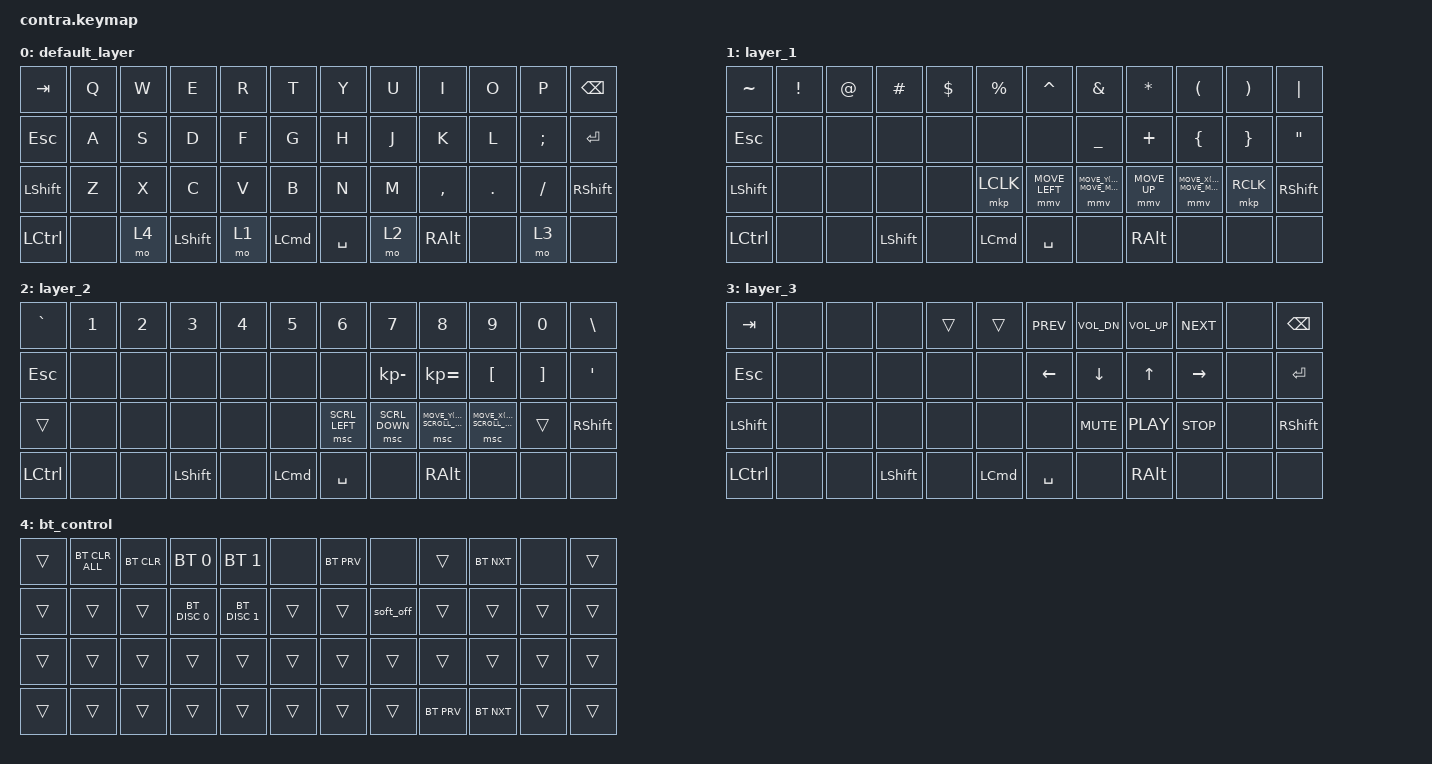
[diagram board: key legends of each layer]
/*
 * Copyright (c) 2021 The ZMK Contributors
 *
 * SPDX-License-Identifier: MIT
 */

#include <behaviors.dtsi>
#include <dt-bindings/zmk/bt.h>
#include <dt-bindings/zmk/keys.h>
#include <dt-bindings/zmk/mouse.h>
#include <behaviors/mouse_keys.dtsi>

#define DEFAULT  0
#define LAY_1 1
#define LAY_2 2
#define LAY_3 3
#define BT_CTRL 4

#define MOUSE_MOVE_MAX 3000                     /* <--- New max speed setting (default: 600) */
#undef MOVE_UP
#undef MOVE_DOWN
#undef MOVE_LEFT
#undef MOVE_RIGHT
#define MOVE_UP MOVE_Y(-MOUSE_MOVE_MAX)
#define MOVE_DOWN MOVE_Y(MOUSE_MOVE_MAX)
#define MOVE_LEFT MOVE_X(-MOUSE_MOVE_MAX)
#define MOVE_RIGHT MOVE_X(MOUSE_MOVE_MAX)


#define MOUSE_SCROLL_MAX 35
#undef SCRL_UP
#undef SCRL_DOWN
#undef SCRL_LEFT
#undef SCRL_RIGHT
#define SCRL_UP MOVE_Y(MOUSE_SCROLL_MAX)
#define SCRL_DOWN MOVE_Y(-MOUSE_SCROLL_MAX)
#define SCRL_LEFT MOVE_X(-MOUSE_SCROLL_MAX)
#define SCRL_RIGHT MOVE_X(MOUSE_SCROLL_MAX)

&mmv {
	time-to-max-speed-ms = <400>;             /* <--- How long time until max speed is reached (default: 500) */
};

&soft_off{
    hold-time-ms = <3000>;
};

/ {
    keymap {
        compatible = "zmk,keymap";

        default_layer {
            bindings = <
                &kp TAB     &kp Q  &kp W  &kp E           &kp R  &kp T             &kp Y      &kp U  &kp I          &kp O    &kp P     &kp BSPC
                &kp ESCAPE  &kp A  &kp S  &kp D           &kp F  &kp G             &kp H      &kp J  &kp K          &kp L    &kp SEMI  &kp ENTER
                &kp LSHFT   &kp Z  &kp X  &kp C           &kp V  &kp B             &kp N      &kp M  &kp COMMA      &kp DOT  &kp FSLH  &kp RIGHT_SHIFT
                &kp LCTRL   &none  &mo 4  &kp LEFT_SHIFT  &mo 1  &kp LEFT_COMMAND  &kp SPACE  &mo 2  &kp RIGHT_ALT  &none    &mo 3     &none
                >;
        };

        layer_1 {
            bindings = <
                &kp TILDE &kp EXCL &kp AT_SIGN &kp HASH &kp DLLR &kp PRCNT &kp CARET &kp AMPS &kp STAR &kp LEFT_PARENTHESIS &kp RIGHT_PARENTHESIS &kp PIPE
                &kp ESCAPE &none &none &none &none &none &none &kp UNDER &kp PLUS &kp LEFT_BRACE &kp RIGHT_BRACE &kp DQT
                &kp LSHFT &none &none &none &none &mkp LCLK &mmv MOVE_LEFT &mmv MOVE_DOWN &mmv MOVE_UP &mmv MOVE_RIGHT &mkp RCLK &kp RIGHT_SHIFT
                &kp LCTRL &none &none &kp LSHFT &none &kp LCMD &kp SPACE &none &kp RIGHT_ALT &none &none &none
            >;
        };
        layer_2 {
            bindings = <
                &kp GRAVE  &kp NUMBER_1  &kp NUMBER_2  &kp NUMBER_3 &kp NUMBER_4 &kp NUMBER_5  &kp NUMBER_6 &kp NUMBER_7 &kp NUMBER_8 &kp NUMBER_9 &kp NUMBER_0 &kp BACKSLASH 
                &kp ESCAPE  &none  &none  &none  &none  &none  &none  &kp KP_MINUS &kp KP_EQUAL  &kp LEFT_BRACKET  &kp RIGHT_BRACKET  &kp SINGLE_QUOTE
                &trans  &none  &none  &none  &none  &none  &msc SCRL_LEFT  &msc SCRL_DOWN  &msc SCRL_UP  &msc SCRL_RIGHT  &trans  &kp RIGHT_SHIFT
                &kp LCTRL  &none  &none  &kp LSHFT  &none  &kp LEFT_COMMAND  &kp SPACE  &none  &kp RIGHT_ALT  &none  &none  &none
                >;
        };

        layer_3 {
            bindings = <
                &kp TAB &none  &none  &none  &trans  &trans  &kp C_PREV  &kp C_VOL_DN  &kp C_VOL_UP  &kp C_NEXT  &none  &kp BACKSPACE
                &kp ESCAPE  &none  &none  &none  &none  &none  &kp LEFT  &kp DOWN  &kp UP  &kp RIGHT  &none  &kp ENTER
                &kp LEFT_SHIFT  &none  &none  &none  &none  &none  &none  &kp C_MUTE  &kp C_PLAY  &kp C_STOP  &none  &kp RIGHT_SHIFT
                &kp LCTRL  &none  &none  &kp LSHFT  &none  &kp LEFT_COMMAND  &kp SPACE  &none  &kp RIGHT_ALT  &none  &none  &none
                >;
        };

        bt_control {
            bindings = <
                &trans  &bt BT_CLR_ALL  &bt BT_CLR        &bt BT_SEL 0  &bt BT_SEL 1  &none  &bt BT_PRV  &none  &trans  &bt BT_NXT      &none      &trans

                &trans      &trans        &trans        &bt BT_DISC 0       &bt BT_DISC 1        &trans        &trans  &soft_off  &trans      &trans      &trans  &trans

                &trans      &trans        &trans        &trans        &trans        &trans        &trans &trans &trans      &trans      &trans  &trans

                &trans      &trans        &trans        &trans        &trans        &trans        &trans  &trans  &bt BT_PRV  &bt BT_NXT  &trans  &trans
                >;
        };
    };
};
